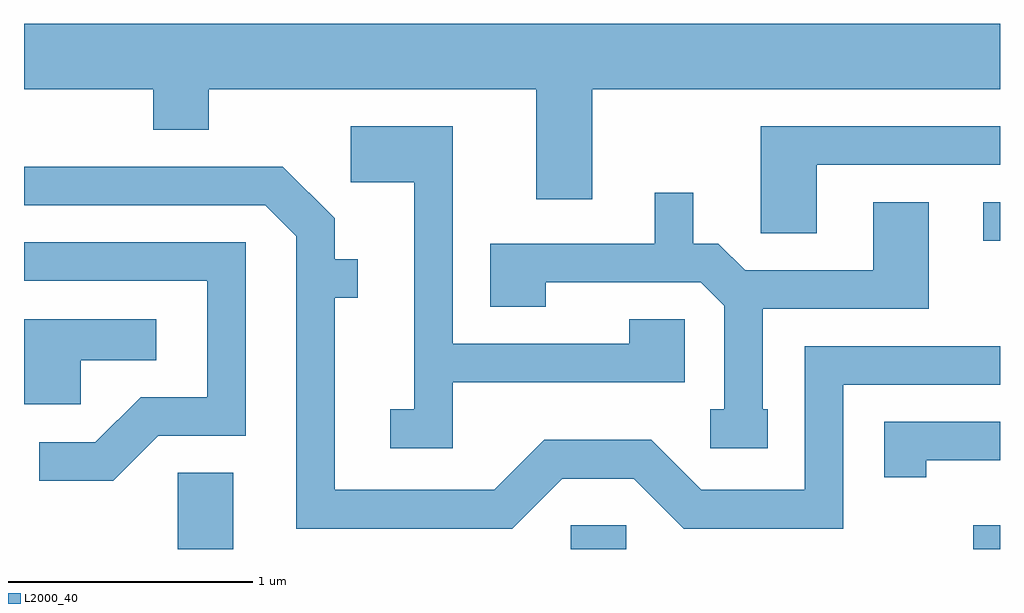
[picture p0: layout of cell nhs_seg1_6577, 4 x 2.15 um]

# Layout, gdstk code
import gdstk
lib = gdstk.Library(unit=1e-6, precision=1e-09)
def R(c, l, rs):  # rectangles x0, y0, x1, y1
    for r in rs: c.add(gdstk.rectangle(r[:2], r[2:], *l))
def P(c, l, *ps):  # polygons
    for p in ps: c.add(gdstk.Polygon(p, *l))
L2000_40 = (2000, 40)

nhs_seg1_6577 = lib.new_cell('nhs_seg1_6577')
R(nhs_seg1_6577, L2000_40, [(384.241,877.712,384.469,878.024), (385.851,877.712,386.079,877.809), (387.501,877.712,387.611,877.809), (387.543,878.976,387.611,879.134)])
P(nhs_seg1_6577, L2000_40, [(385.939,879.596),(387.611,879.596),(387.611,879.864),(383.611,879.864),(383.611,879.596),(384.141,879.596),(384.141,879.431),(384.369,879.431),(384.369,879.596),(385.711,879.596),(385.711,879.146),(385.939,879.146)],
  [(385.369,878.396),(386.319,878.396),(386.319,878.654),(386.091,878.654),(386.091,878.554),(385.369,878.554),(385.369,879.444),(384.951,879.444),(384.951,879.216),(385.211,879.216),(385.211,878.284),(385.113,878.284),(385.113,878.126),(385.369,878.126)],
  [(386.859,879.286),(387.611,879.286),(387.611,879.444),(386.631,879.444),(386.631,879.006),(386.859,879.006)],
  [(385.817,878.001),(386.109,878.001),(386.314,877.796),(386.969,877.796),(386.969,878.386),(387.611,878.386),(387.611,878.544),(386.811,878.544),(386.811,877.954),(386.387,877.954),(386.182,878.159),(385.744,878.159),(385.539,877.954),(384.884,877.954),(384.884,878.741),(384.979,878.741),(384.979,878.899),(384.884,878.899),(384.884,879.067),(384.672,879.279),(383.611,879.279),(383.611,879.121),(384.599,879.121),(384.726,878.994),(384.726,877.796),(385.612,877.796)],
  [(386.659,878.284),(386.639,878.284),(386.639,878.696),(387.319,878.696),(387.319,879.134),(387.091,879.134),(387.091,878.854),(386.567,878.854),(386.457,878.964),(386.354,878.964),(386.354,879.173),(386.196,879.173),(386.196,878.964),(385.521,878.964),(385.521,878.706),(385.749,878.706),(385.749,878.806),(386.384,878.806),(386.481,878.709),(386.481,878.284),(386.423,878.284),(386.423,878.126),(386.659,878.126)],
  [(384.162,878.176),(384.519,878.176),(384.519,878.969),(383.613,878.969),(383.613,878.811),(384.361,878.811),(384.361,878.334),(384.089,878.334),(383.904,878.149),(383.673,878.149),(383.673,877.991),(383.977,877.991)],
  [(383.844,878.486),(384.153,878.486),(384.153,878.654),(383.611,878.654),(383.611,878.306),(383.844,878.306)],
  [(387.309,878.076),(387.611,878.076),(387.611,878.234),(387.136,878.234),(387.136,878.006),(387.309,878.006)])

lib.write_gds('nhs_seg1_6577.gds')
